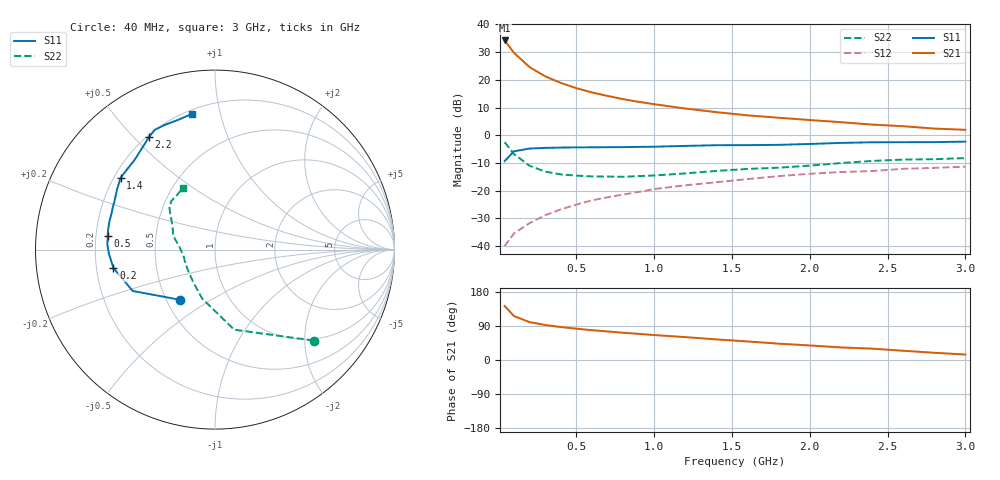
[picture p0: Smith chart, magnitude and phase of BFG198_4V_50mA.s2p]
! Filename:  BFG198D.S2P  Version:  2.0
! Philips part #: BFG198  Date: Jul 1990
! Bias condition: Vce=4V, Ic=50mA
#  MHz  S  MA  R  50
! Freq  S11  S21  S12  S22  !GUM [dB]
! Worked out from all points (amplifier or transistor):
!   21 points, 40 MHz to 3 GHz, reference 50 ohm
!   highest |S21| = 34.2 dB at 40 MHz (marker M1)
!   |S21| within 3 dB of that: start of sweep to 80.65 MHz
!   unconditionally stable (mu >= 1): 359.2 MHz to 2.079 GHz
!   at 300 MHz: K = 0.98, MSG = 25.1 dB, |S12| = -28.9 dB
!   at 1 GHz: K = 1.07, MAG = 13.7 dB, |S12| = -19.4 dB
!   at 3 GHz: K = 0.96, MSG = 6.6 dB, |S12| = -11.3 dB
!   S11 on the Smith chart (normalised r, x): 40 MHz: 0.59, -0.37; 200 MHz: 0.27, -0.08; 500 MHz: 0.25, +0.06; 1.4 GHz: 0.23, +0.32; 2.2 GHz: 0.21, +0.55; 3 GHz: 0.22, +0.82
40  0.341 -124.9  51.14 142.5  0.01 68.0  0.749 -42.6
100  0.513 -153.3  30.71 116.0  0.017 61.2  0.459 -76.5
200  0.575 -169.7  16.94 100.0  0.026 64.4  0.282 -104.7
300  0.591 -177.6  11.56 92.4  0.036 67.8  0.221 -122.6
400  0.6 177.5  8.785 87.0  0.046 70.7  0.197 -135.8
500  0.603 172.7  7.072 82.7  0.056 70.7  0.187 -145.8
600  0.606 169.0  5.926 78.7  0.067 70.5  0.181 -153.6
700  0.609 164.8  5.117 75.3  0.076 71.1  0.18 -160.3
800  0.61 161.4  4.475 71.9  0.085 70.8  0.178 -166.4
900  0.616 157.6  4.011 69.0  0.095 70.3  0.183 -172.4
1000  0.621 154.5  3.63 65.9  0.107 69.4  0.188 -178.0
1200  0.642 148.0  3.032 60.4  0.125 67.7  0.205 172.8
1400  0.661 142.6  2.607 54.4  0.142 65.6  0.227 166.3
1600  0.663 137.7  2.283 49.0  0.162 64.2  0.247 161.0
1800  0.671 131.9  2.068 43.1  0.183 60.1  0.26 154.7
2000  0.696 125.8  1.88 38.4  0.202 58.4  0.283 147.9
2200  0.727 120.4  1.718 33.2  0.217 55.8  0.315 142.1
2400  0.747 116.7  1.557 30.0  0.226 54.7  0.344 137.5
2600  0.749 111.9  1.455 24.4  0.248 51.2  0.364 132.1
2800  0.751 106.3  1.318 19.1  0.258 46.1  0.37 125.1
3000  0.767 99.5  1.252 14.4  0.271 44.4  0.387 117.5
